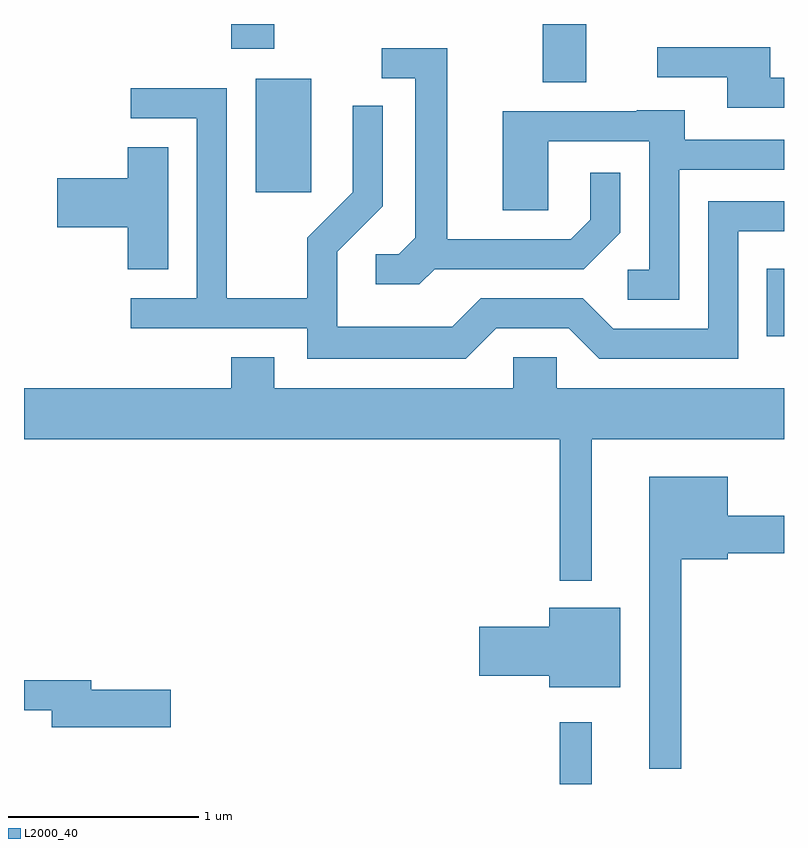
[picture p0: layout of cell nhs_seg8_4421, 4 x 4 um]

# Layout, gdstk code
import gdstk
lib = gdstk.Library(unit=1e-6, precision=1e-09)
def R(c, l, rs):  # rectangles x0, y0, x1, y1
    for r in rs: c.add(gdstk.rectangle(r[:2], r[2:], *l))
def P(c, l, *ps):  # polygons
    for p in ps: c.add(gdstk.Polygon(p, *l))
L2000_40 = (2000, 40)

nhs_seg8_4421 = lib.new_cell('nhs_seg8_4421')
R(nhs_seg8_4421, L2000_40, [(320.431,1872.342,320.599,1872.668), (321.521,1874.698,321.611,1875.054), (318.831,1875.456,319.124,1876.054), (320.341,1876.036,320.569,1876.342), (318.701,1876.211,318.929,1876.342)])
P(nhs_seg8_4421, L2000_40, [(321.611,1876.059),(321.539,1876.059),(321.539,1876.219),(320.943,1876.219),(320.943,1876.061),(321.311,1876.061),(321.311,1875.901),(321.611,1875.901)],
  [(319.772,1875.051),(320.557,1875.051),(320.749,1875.244),(320.749,1875.558),(320.591,1875.558),(320.591,1875.312),(320.489,1875.209),(319.839,1875.209),(319.839,1876.214),(319.493,1876.214),(319.493,1876.056),(319.671,1876.056),(319.671,1875.217),(319.584,1875.129),(319.463,1875.129),(319.463,1874.971),(319.692,1874.971)],
  [(320.097,1874.741),(320.479,1874.741),(320.639,1874.581),(321.369,1874.581),(321.369,1875.251),(321.611,1875.251),(321.611,1875.409),(321.211,1875.409),(321.211,1874.739),(320.712,1874.739),(320.552,1874.899),(320.014,1874.899),(319.864,1874.749),(319.259,1874.749),(319.259,1875.144),(319.499,1875.384),(319.499,1875.913),(319.341,1875.913),(319.341,1875.457),(319.101,1875.217),(319.101,1874.899),(318.679,1874.899),(318.679,1876.004),(318.173,1876.004),(318.173,1875.846),(318.521,1875.846),(318.521,1874.899),(318.173,1874.899),(318.173,1874.741),(319.101,1874.741),(319.101,1874.581),(319.937,1874.581)],
  [(321.059,1875.576),(321.611,1875.576),(321.611,1875.734),(321.089,1875.734),(321.089,1875.889),(320.835,1875.889),(320.835,1875.884),(320.131,1875.884),(320.131,1875.361),(320.369,1875.361),(320.369,1875.726),(320.901,1875.726),(320.901,1875.049),(320.788,1875.049),(320.788,1874.891),(321.059,1874.891)],
  [(318.369,1875.694),(318.156,1875.694),(318.156,1875.529),(317.786,1875.529),(317.786,1875.271),(318.156,1875.271),(318.156,1875.051),(318.369,1875.051)],
  [(320.599,1874.156),(321.611,1874.156),(321.611,1874.424),(320.414,1874.424),(320.414,1874.589),(320.186,1874.589),(320.186,1874.424),(318.929,1874.424),(318.929,1874.589),(318.701,1874.589),(318.701,1874.424),(317.611,1874.424),(317.611,1874.156),(320.431,1874.156),(320.431,1873.413),(320.599,1873.413)],
  [(321.069,1873.526),(321.314,1873.526),(321.314,1873.556),(321.611,1873.556),(321.611,1873.754),(321.314,1873.754),(321.314,1873.959),(320.901,1873.959),(320.901,1872.423),(321.069,1872.423)],
  [(320.749,1873.269),(320.376,1873.269),(320.376,1873.169),(320.006,1873.169),(320.006,1872.911),(320.376,1872.911),(320.376,1872.851),(320.749,1872.851)],
  [(318.384,1872.839),(317.964,1872.839),(317.964,1872.889),(317.611,1872.889),(317.611,1872.731),(317.756,1872.731),(317.756,1872.641),(318.384,1872.641)])

lib.write_gds('nhs_seg8_4421.gds')
